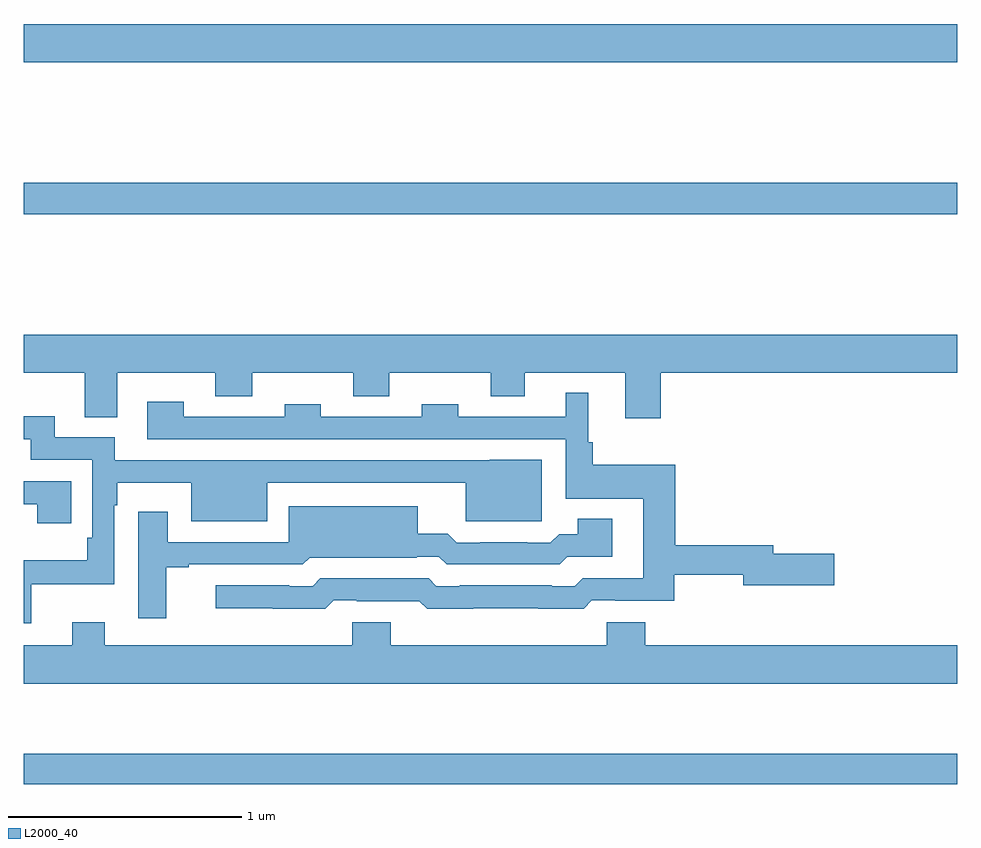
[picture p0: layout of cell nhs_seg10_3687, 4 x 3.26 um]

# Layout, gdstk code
import gdstk
lib = gdstk.Library(unit=1e-6, precision=1e-09)
def R(c, l, rs):  # rectangles x0, y0, x1, y1
    for r in rs: c.add(gdstk.rectangle(r[:2], r[2:], *l))
def P(c, l, *ps):  # polygons
    for p in ps: c.add(gdstk.Polygon(p, *l))
L2000_40 = (2000, 40)

nhs_seg10_3687 = lib.new_cell('nhs_seg10_3687')
R(nhs_seg10_3687, L2000_40, [(311,1317.202,315,1317.331), (311,1319.644,315,1319.78), (311,1320.296,315,1320.46)])
P(nhs_seg10_3687, L2000_40, [(313.73,1318.964),(315,1318.964),(315,1319.128),(311,1319.128),(311,1318.964),(311.261,1318.964),(311.261,1318.774),(311.401,1318.774),(311.401,1318.964),(311.821,1318.964),(311.821,1318.865),(311.979,1318.865),(311.979,1318.964),(312.412,1318.964),(312.412,1318.865),(312.567,1318.865),(312.567,1318.964),(313,1318.964),(313,1318.865),(313.147,1318.865),(313.147,1318.964),(313.577,1318.964),(313.577,1318.77),(313.73,1318.77)],
  [(312.327,1317.99),(312.427,1317.99),(312.427,1317.986),(312.695,1317.986),(312.728,1317.954),(312.926,1317.954),(312.926,1317.956),(313.204,1317.956),(313.204,1317.954),(313.399,1317.954),(313.435,1317.99),(313.534,1317.99),(313.534,1317.987),(313.788,1317.987),(313.788,1318.098),(314.084,1318.098),(314.084,1318.055),(314.473,1318.055),(314.473,1318.19),(314.212,1318.19),(314.212,1318.226),(313.793,1318.226),(313.793,1318.57),(313.439,1318.57),(313.439,1318.666),(313.42,1318.666),(313.42,1318.879),(313.322,1318.879),(313.322,1318.776),(312.861,1318.776),(312.861,1318.831),(312.706,1318.831),(312.706,1318.776),(312.273,1318.776),(312.273,1318.831),(312.118,1318.831),(312.118,1318.776),(311.685,1318.776),(311.685,1318.84),(311.529,1318.84),(311.529,1318.68),(313.323,1318.68),(313.323,1318.424),(313.655,1318.424),(313.655,1318.083),(313.395,1318.083),(313.362,1318.05),(313.262,1318.05),(313.262,1318.053),(312.868,1318.053),(312.868,1318.05),(312.768,1318.05),(312.735,1318.083),(312.27,1318.083),(312.237,1318.05),(312.137,1318.05),(312.137,1318.053),(311.823,1318.053),(311.823,1317.956),(312.066,1317.956),(312.066,1317.954),(312.291,1317.954)],
  [(311.032,1318.058),(311.388,1318.058),(311.388,1318.397),(311.401,1318.397),(311.401,1318.494),(311.717,1318.494),(311.717,1318.328),(312.043,1318.328),(312.043,1318.494),(312.893,1318.494),(312.893,1318.328),(313.219,1318.328),(313.219,1318.591),(312.997,1318.591),(312.997,1318.59),(311.389,1318.59),(311.389,1318.689),(311.131,1318.689),(311.131,1318.778),(311,1318.778),(311,1318.68),(311.03,1318.68),(311.03,1318.593),(311.292,1318.593),(311.292,1318.258),(311.272,1318.258),(311.272,1318.162),(311,1318.162),(311,1317.891),(311.032,1317.891)],
  [(311.203,1318.5),(311,1318.5),(311,1318.402),(311.056,1318.402),(311.056,1318.32),(311.203,1318.32)],
  [(311.611,1318.131),(311.707,1318.131),(311.707,1318.143),(312.196,1318.143),(312.225,1318.172),(312.683,1318.172),(312.683,1318.176),(312.779,1318.176),(312.812,1318.143),(313.296,1318.143),(313.329,1318.176),(313.522,1318.176),(313.522,1318.339),(313.373,1318.339),(313.373,1318.273),(313.294,1318.273),(313.257,1318.236),(313.157,1318.236),(313.157,1318.239),(312.955,1318.239),(312.955,1318.236),(312.855,1318.236),(312.817,1318.274),(312.688,1318.274),(312.688,1318.393),(312.135,1318.393),(312.135,1318.239),(311.617,1318.239),(311.617,1318.369),(311.489,1318.369),(311.489,1317.912),(311.611,1317.912)],
  [(315,1317.796),(313.664,1317.796),(313.664,1317.895),(313.499,1317.895),(313.499,1317.796),(312.572,1317.796),(312.572,1317.895),(312.407,1317.895),(312.407,1317.796),(311.347,1317.796),(311.347,1317.895),(311.207,1317.895),(311.207,1317.796),(311,1317.796),(311,1317.632),(315,1317.632)])

lib.write_gds('nhs_seg10_3687.gds')
